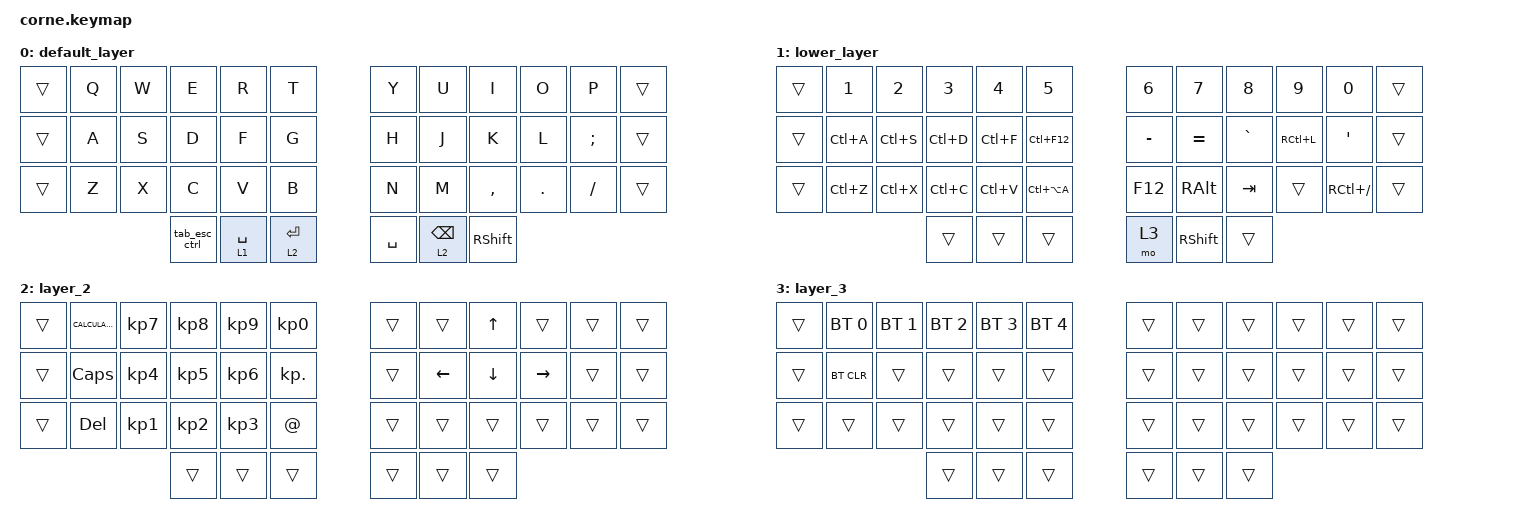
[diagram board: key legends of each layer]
/*
 * Copyright (c) 2020 The ZMK Contributors
 *
 * SPDX-License-Identifier: MIT
 */

#include <behaviors.dtsi>
#include <dt-bindings/zmk/bt.h>
#include <dt-bindings/zmk/keys.h>

/ {
    combos {
        compatible = "zmk,combos";

        combo1 {
            bindings = <&kp LBKT>;
            key-positions = <3 4>;
        };

        combo2 {
            bindings = <&kp RBKT>;
            key-positions = <7 8>;
        };

        combo3 {
            bindings = <&kp LEFT_PARENTHESIS>;
            key-positions = <15 16>;
        };

        combo4 {
            bindings = <&kp RIGHT_PARENTHESIS>;
            key-positions = <19 20>;
        };

        combo5 {
            bindings = <&kp LEFT_BRACE>;
            key-positions = <27 28>;
        };

        combo6 {
            bindings = <&kp RIGHT_BRACE>;
            key-positions = <31 32>;
        };

        combo7 {
            bindings = <&kp BACKSLASH>;
            key-positions = <5 6>;
        };

        combo8 {
            bindings = <&kp PIPE>;
            key-positions = <17 18>;
        };
    };

    behaviors {
        tab_esc_ctrl: tab_esc_ctrl {
            compatible = "zmk,behavior-tap-dance";
            label = "TAB_ESC_CTRL";
            #binding-cells = <0>;
            bindings =
                <&mt LCTRL ESC>,
                <&kp TAB>;
        };
        gqt: global-quick-tap {
            compatible = "zmk,behavior-hold-tap";
            label = "GLOBAL_QUICK_TAP";
            bindings =
                <&kp>,
                <&kp>;

            #binding-cells = <2>;
            tapping-term-ms = <200>;
            quick-tap-ms = <180>;
            global-quick-tap;
            flavor = "tap-preferred";
        };
        ltq: ltq {
            compatible = "zmk,behavior-hold-tap";
            label = "LTQ";
            bindings =
                <&mo>,
                <&kp>;

            #binding-cells = <2>;
            tapping-term-ms = <200>;
            quick-tap-ms = <180>;
            global-quick-tap;
        };
    };

    keymap {
        compatible = "zmk,keymap";

        default_layer {
            bindings = <
&trans  &kp Q  &kp W          &kp E        &kp R        &kp T        &kp Y        &kp U       &kp I    &kp O     &kp P  &trans
&trans  &kp A  &kp S          &kp D        &kp F        &kp G        &kp H        &kp J       &kp K    &kp L  &kp SEMI  &trans
&trans  &kp Z  &kp X          &kp C        &kp V        &kp B        &kp N        &kp M   &kp COMMA  &kp DOT  &kp FSLH  &trans
                      &tab_esc_ctrl  &lt 1 SPACE  &lt 2 ENTER    &kp SPACE  &ltq 2 BSPC  &kp RSHIFT
            >;
        };

        lower_layer {
            bindings = <
&trans  &kp NUMBER_1  &kp NUMBER_2  &kp NUMBER_3  &kp NUMBER_4   &kp NUMBER_5    &kp NUMBER_6   &kp NUMBER_7  &kp NUMBER_8  &kp NUMBER_9   &kp NUMBER_0  &trans
&trans     &kp LC(A)     &kp LC(S)     &kp LC(D)     &kp LC(F)    &kp LC(F12)       &kp MINUS      &kp EQUAL     &kp GRAVE     &kp RC(L)        &kp SQT  &trans
&trans     &kp LC(Z)     &kp LC(X)     &kp LC(C)     &kp LC(V)  &kp LC(LA(A))         &kp F12  &kp RIGHT_ALT       &kp TAB        &trans  &kp RC(SLASH)  &trans
                                          &trans        &trans         &trans           &mo 3     &kp RSHIFT        &trans
            >;
        };

        layer_2 {
            bindings = <
&trans  &kp K_CALCULATOR  &kp KP_NUMBER_7  &kp KP_NUMBER_8  &kp KP_NUMBER_9  &kp KP_NUMBER_0    &trans    &trans    &kp UP     &trans  &trans  &trans
&trans          &kp CAPS  &kp KP_NUMBER_4  &kp KP_NUMBER_5  &kp KP_NUMBER_6       &kp KP_DOT    &trans  &kp LEFT  &kp DOWN  &kp RIGHT  &trans  &trans
&trans           &kp DEL  &kp KP_NUMBER_1  &kp KP_NUMBER_2  &kp KP_NUMBER_3      &kp AT_SIGN    &trans    &trans    &trans     &trans  &trans  &trans
                                                    &trans           &trans           &trans    &trans    &trans    &trans
            >;
        };

        layer_3 {
            bindings = <
&trans  &bt BT_SEL 0  &bt BT_SEL 1  &bt BT_SEL 2  &bt BT_SEL 3  &bt BT_SEL 4    &trans  &trans  &trans  &trans  &trans  &trans
&trans    &bt BT_CLR        &trans        &trans        &trans        &trans    &trans  &trans  &trans  &trans  &trans  &trans
&trans        &trans        &trans        &trans        &trans        &trans    &trans  &trans  &trans  &trans  &trans  &trans
                                          &trans        &trans        &trans    &trans  &trans  &trans
            >;
        };
    };
};
